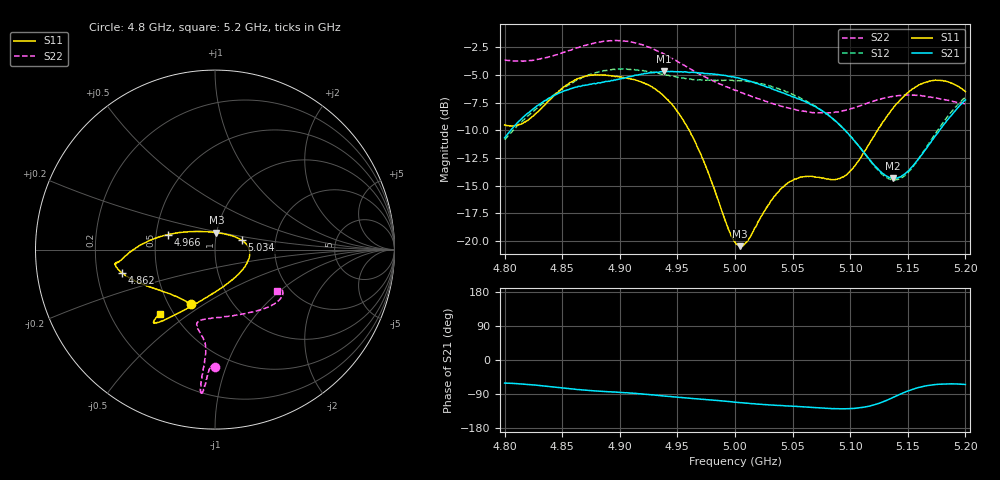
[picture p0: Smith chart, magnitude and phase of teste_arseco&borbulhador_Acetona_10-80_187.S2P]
! Network Analyzer HP8722D
! Hewlett-Packard
! Data name: Linha & Wilkinson
! Saver's name: Rodrigo Anjos
! Comments: Teste da utilização de aquisição
! continua pelo VNA HP8722D
! Time and date: 17/4/2025 15:55
!  Frequency  S11  S21  S12  S22
# HZ  S  MA R 50
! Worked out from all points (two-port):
!   401 points, 4.8 GHz to 5.2 GHz, reference 50 ohm
!   highest |S21| = -4.69 dB at 4.938 GHz (marker M1); lowest = -14.4 dB at 5.137 GHz (marker M2)
!   |S21| within 3 dB of the highest: 4.83 GHz to 5.066 GHz (236.2 MHz wide, 4.77 % of centre); 5.195872 GHz to end of sweep
!   lowest |S11| = -20.5 dB at 5.004 GHz (marker M3), VSWR 1.21, Z = 49.9 + j9.49 ohm
!   |S11| at or under -10 dB: 4.96 GHz to 5.124 GHz (163.7 MHz wide, 3.25 % of centre)
!   |S22| runs from -8.5 to -1.9 dB; largest |S21 - S12| = 0.87
!   S11 on the Smith chart (normalised r, x): 4.8 GHz: 0.64, -0.44; 4.862 GHz: 0.31, -0.11; 4.966 GHz: 0.58, +0.10; 5.034 GHz: 1.34, +0.14; 5.2 GHz: 0.42, -0.39
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4.8e9  0.334 -113.7  0.2919 -60.9  0.2863 -175.1  0.6562 -90.1
4.819e9  0.3478 -133.7  0.3729 -64.3  0.3614 -173.9  0.6512 -91.7
4.862e9  0.5359 -166.2  0.4951 -77.4  0.5299 -177.2  0.7432 -93.9
4.867e9  0.5488 -168.2  0.5014 -78.8  0.5448 -178.1  0.7558 -94.2
4.9e9  0.5504 -172.6  0.5389 -85.3  0.5964 175.3  0.8022 -95.5
4.934e9  0.4721 -178.6  0.5782 -93.8  0.5715 171.6  0.7148 -95.9
4.938e9  0.4527 179.8  0.5825 -94.8  0.5649 171.6  0.7001 -95.8
4.953e9  0.3647 171.8  0.581 -98.8  0.545 172.3  0.633 -95.2
4.966e9  0.2756 162.4  0.5753 -102.3  0.5351 173.7  0.5789 -95.1
5e9  0.09888 99.5  0.5475 -111.3  0.5321 175.9  0.4785 -99.4
5.004e9  0.09465 85.4  0.5427 -112.4  0.529 176.0  0.4705 -100.1
5.012e9  0.1019 58.8  0.5276 -114.2  0.524 175.8  0.455 -101.8
5.034e9  0.1588 19.3  0.4811 -119.1  0.4937 174.6  0.415 -103.4
5.05e9  0.1877 3.2  0.4476 -122.1  0.4581 174.0  0.3952 -99.5
5.067e9  0.1956 -15.2  0.4113 -125.1  0.4151 173.4  0.3793 -90.4
5.086e9  0.1894 -45.3  0.3526 -128.4  0.351 173.6  0.3804 -76.0
5.097e9  0.1988 -67.8  0.3094 -128.6  0.3106 174.7  0.3907 -67.0
5.134e9  0.3779 -117.1  0.1931 -103.3  0.1902 -156.4  0.4465 -43.0
5.137e9  0.3959 -118.8  0.1915 -99.3  0.1886 -151.5  0.4497 -41.7
5.151e9  0.4716 -125.0  0.2085 -80.6  0.2059 -130.3  0.4561 -36.5
5.17e9  0.5279 -129.3  0.2787 -66.1  0.2847 -112.3  0.4464 -32.1
5.2e9  0.4725 -130.8  0.4332 -64.6  0.4456 -106.6  0.4154 -33.5
